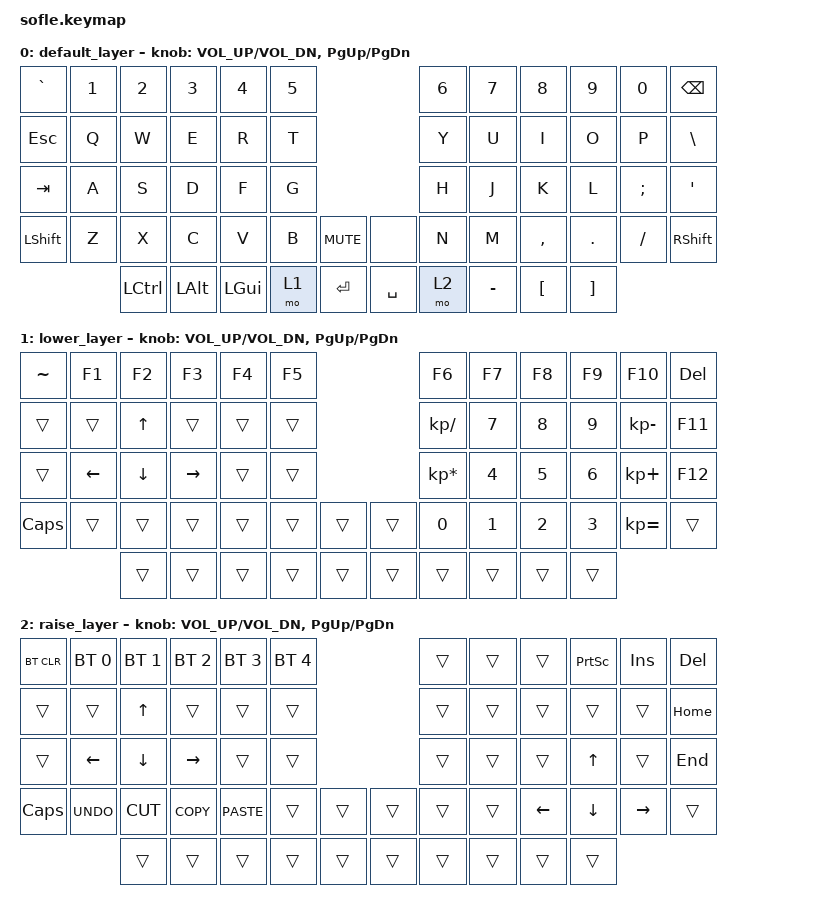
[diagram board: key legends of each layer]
/*
 * Copyright (c) 2020 The ZMK Contributors
 *
 * SPDX-License-Identifier: MIT
 */

#include <behaviors.dtsi>
#include <dt-bindings/zmk/keys.h>
#include <dt-bindings/zmk/bt.h>

/ {
    keymap {
        compatible = "zmk,keymap";

        default_layer {
// ------------------------------------------------------------------------------------------------------------
// |  `    |  1  |  2  |  3   |  4   |  5   |                   |  6   |  7    |  8   |  9   |   0   | BKSPC |
// |  ESC  |  Q  |  W  |  E   |  R   |  T   |                   |  Y   |  U    |  I   |  O   |   P   |   \   |
// |  TAB  |  A  |  S  |  D   |  F   |  G   |                   |  H   |  J    |  K   |  L   |   ;   |   '   |
// | SHIFT |  Z  |  X  |  C   |  V   |  B   |  MUTE  |  |       |  N   |  M    |  ,   |  .   |   /   | SHIFT |
//               | CTRL| ALT  | GUI  | LOWER|  ENTER |  | SPACE | RAISE|  -    |  [   |  ]   |
            bindings = <
&kp GRAVE &kp N1 &kp N2   &kp N3   &kp N4    &kp N5                      &kp N6 &kp N7    &kp N8    &kp N9   &kp N0   &kp BSPC
&kp ESC   &kp Q  &kp W    &kp E    &kp R     &kp T                       &kp Y  &kp U     &kp I     &kp O    &kp P    &kp BSLH
&kp TAB   &kp A  &kp S    &kp D    &kp F     &kp G                       &kp H  &kp J     &kp K     &kp L    &kp SEMI &kp SQT
&kp LSHFT &kp Z  &kp X    &kp C    &kp V     &kp B  &kp C_MUTE &none     &kp N  &kp M     &kp COMMA &kp DOT  &kp FSLH &kp RSHFT
                 &kp LCTRL &kp LALT &kp LGUI &mo 1  &kp RET    &kp SPACE &mo 2  &kp MINUS &kp LBKT  &kp RBKT
            >;

            sensor-bindings = <&inc_dec_kp C_VOL_UP C_VOL_DN &inc_dec_kp PG_UP PG_DN>;
        };

        lower_layer {
// TODO: Some binds are waiting for shifted keycode support.
// ------------------------------------------------------------------------------------------------------------
// | ~     |  F1 |  F2 |  F3  |  F4  |  F5  |                   |  F6  |  F7   |  F8   |  F9  |  F10  |  DEL  |
// |       |     |  ^  |      |      |      |                   |  /   |  7    |  8    |  9   |   -   |  F11  |
// |       |  <- |  v  |  ->  |      |      |                   |  *   |  4    |  5    |  6   |   +   |  F12  |
// | CAPS  |     |     |      |      |      |        |  |       |  0   |  1    |  2    |  3   |   =   |       |
//               |     |      |      |      |        |  |       |      |       |       |      |
            bindings = <
&kp TILDE &kp F1    &kp F2    &kp F3      &kp F4    &kp F5                    &kp F6          &kp F7   &kp F8  &kp F9  &kp F10      &kp DEL
&trans    &trans    &kp UP    &trans      &trans    &trans                    &kp KP_SLASH    &kp N7   &kp N8  &kp N9  &kp KP_MINUS &kp F11
&trans    &kp LEFT  &kp DOWN  &kp RIGHT   &trans    &trans                    &kp KP_ASTERISK &kp N4   &kp N5  &kp N6  &kp KP_PLUS  &kp F12
&kp CAPS  &trans    &trans    &trans      &trans    &trans    &trans   &trans &kp N0          &kp N1   &kp N2  &kp N3  &kp KP_EQUAL &trans
                    &trans    &trans      &trans    &trans    &trans   &trans &trans          &trans   &trans  &trans
            >;

            sensor-bindings = <&inc_dec_kp C_VOL_UP C_VOL_DN &inc_dec_kp PG_UP PG_DN>;
        };

        raise_layer {
// ------------------------------------------------------------------------------------------------------------
// |BTCLR| BT1  | BT2  |  BT3  |  BT4  |  BT5 |                |      |      |       | PSCRN |  INS  |  DEL  |
// |     |      |  ^   |       |       |      |                |      |      |       |       |       |  HOME |
// |     |  <-  |  v   |  ->   |       |      |                |      |      |       |  ^    |       |  END  |
// |CAPS | UNDO | CUT  | COPY  | PASTE |      |      |  |      |      |      |   <-  |  v    |  ->   |       |
//              |      |       |       |      |      |  |      |      |      |       |       |
            bindings = <
&bt BT_CLR &bt BT_SEL 0 &bt BT_SEL 1 &bt BT_SEL 2 &bt BT_SEL 3 &bt BT_SEL 4             &trans    &trans    &trans   &kp PSCRN &kp INS   &kp DEL
&trans     &trans       &kp UP       &trans       &trans       &trans                   &trans    &trans    &trans   &trans    &trans    &kp HOME
&trans     &kp LEFT     &kp DOWN     &kp RIGHT    &trans       &trans                   &trans    &trans    &trans   &kp UP    &trans    &kp END
&kp CAPS   &kp K_UNDO   &kp K_CUT    &kp K_COPY   &kp K_PASTE  &trans  &trans   &trans  &trans    &trans    &kp LEFT &kp DOWN  &kp RIGHT &trans
                        &trans       &trans       &trans       &trans  &trans   &trans  &trans    &trans    &trans   &trans
            >;

            sensor-bindings = <&inc_dec_kp C_VOL_UP C_VOL_DN &inc_dec_kp PG_UP PG_DN>;
        };
    };
};
